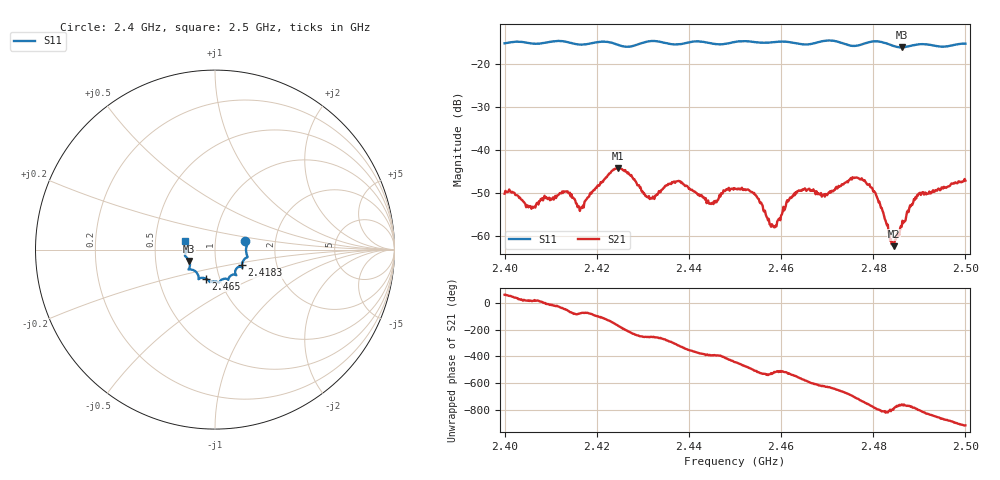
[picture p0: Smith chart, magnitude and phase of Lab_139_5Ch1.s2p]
# Hz S RI R 50
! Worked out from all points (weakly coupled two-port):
!   601 points, 2.4 GHz to 2.5 GHz, reference 50 ohm
!   highest |S21| = -44.09 dB at 2.4245 GHz (marker M1); lowest = -62.2 dB at 2.4845 GHz (marker M2)
!   lowest |S11| = -16.1 dB at 2.4862 GHz (marker M3), VSWR 1.37, Z = 37.2 - j4.81 ohm
!   |S11| at or under -10 dB: start of sweep to end of sweep
!   S12 and S22 are empty: the file has one direction only
!   S11 on the Smith chart (normalised r, x): 2.4 GHz: 1.40, +0.13; 2.4183 GHz: 1.33, -0.24; 2.465 GHz: 0.86, -0.28; 2.5 GHz: 0.71, +0.07
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2.4e9  0.1684 0.0465  0.00156 0.00272  0 0  0 0
2.406167e9  0.1732 0.00699  0.00207 0.000565  0 0  0 0
2.413333e9  0.1767 -0.0442  0.00204 -0.00264  0 0  0 0
2.416667e9  0.1546 -0.0676  0.000504 -0.0021  0 0  0 0
2.418333e9  0.1497 -0.0865  0.000565 -0.00285  0 0  0 0
2.4245e9  0.1388 -0.0956  -0.00612 -0.00124  0 0  0 0
2.431e9  0.1166 -0.1416  -0.000782 0.00277  0 0  0 0
2.433333e9  0.1176 -0.141  -0.0005 0.00314  0 0  0 0
2.437667e9  0.0851 -0.1472  0.00332 0.00289  0 0  0 0
2.444833e9  0.0631 -0.1627  0.00201 -0.00129  0 0  0 0
2.45e9  0.0255 -0.1799  0.000403 -0.00356  0 0  0 0
2.454167e9  0.0138 -0.1806  -0.00269 -0.00174  0 0  0 0
2.458333e9  -0.0195 -0.1795  -0.00127 -0.000371  0 0  0 0
2.465e9  -0.0525 -0.1613  -0.00286 0.00209  0 0  0 0
2.466667e9  -0.0711 -0.1572  -0.00166 0.00297  0 0  0 0
2.477833e9  -0.1313 -0.111  0.00426 -0.00154  0 0  0 0
2.480833e9  -0.1478 -0.1103  0.000724 -0.00275  0 0  0 0
2.483333e9  -0.141 -0.0967  5.81e-06 -0.00111  0 0  0 0
2.4845e9  -0.1393 -0.0835  0.000306 -0.000709  0 0  0 0
2.486167e9  -0.1436 -0.0631  0.00101 -0.000814  0 0  0 0
2.489667e9  -0.1652 -0.0381  0.000498 -0.00293  0 0  0 0
2.5e9  -0.1671 0.047  -0.00428 0.00121  0 0  0 0
